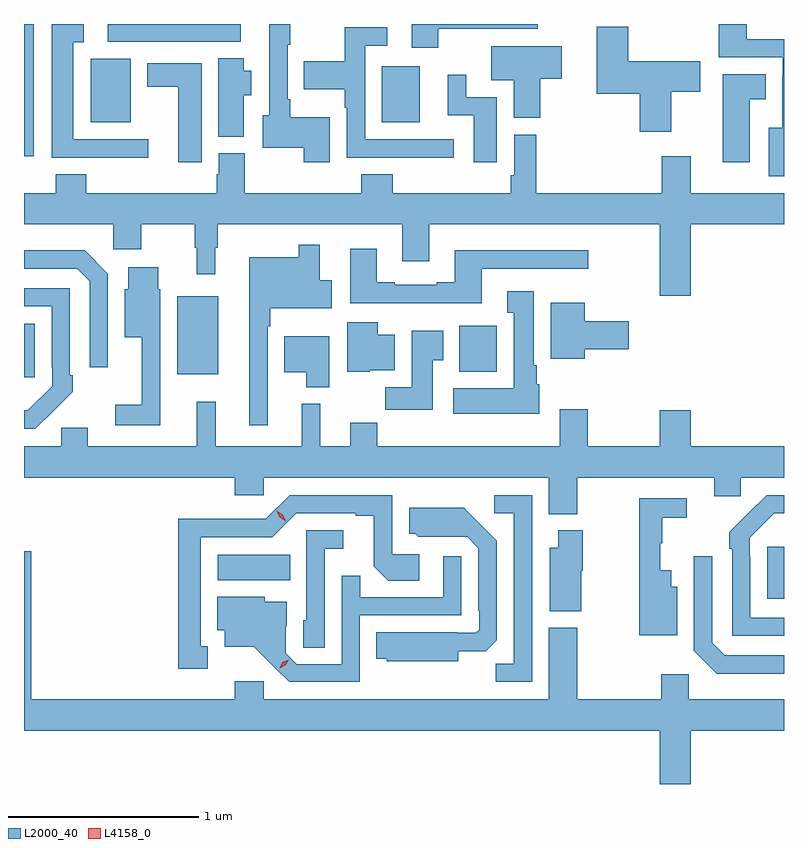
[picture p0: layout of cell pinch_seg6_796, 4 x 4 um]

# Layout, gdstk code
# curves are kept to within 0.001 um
import gdstk
lib = gdstk.Library(unit=1e-6, precision=1e-09)
def R(c, l, rs):  # rectangles x0, y0, x1, y1
    for r in rs: c.add(gdstk.rectangle(r[:2], r[2:], *l))
def P(c, l, *ps):  # polygons
    for p in ps: c.add(gdstk.Polygon(p, *l))
L2000_40 = (2000, 40)
L4158_0 = (4158, 0)

pinch_seg6_796 = lib.new_cell('pinch_seg6_796')
R(pinch_seg6_796, L2000_40, [(153.587,976.001,153.675,976.276), (150.696,976.1,151.076,976.234), (149.675,977.169,149.731,977.449), (150.482,977.183,150.697,977.593), (151.967,977.198,152.164,977.44), (149.675,978.33,149.727,979.027), (150.026,978.509,150.238,978.844), (151.559,978.509,151.759,978.805), (150.117,978.933,150.817,979.027)])
P(pinch_seg6_796, L2000_40, [(153.675,978.948),(153.478,978.948),(153.478,979.027),(153.331,979.027),(153.331,978.852),(153.669,978.852),(153.669,978.755),(153.665,978.755),(153.665,978.481),(153.596,978.481),(153.596,978.227),(153.675,978.227)],
  [(151.855,979.001),(152.38,979.001),(152.38,979.027),(151.715,979.027),(151.715,978.903),(151.855,978.903)],
  [(150.328,978.42),(149.935,978.42),(149.935,978.932),(149.989,978.932),(149.989,979.027),(149.822,979.027),(149.822,978.323),(150.328,978.323)],
  [(151.285,978.535),(151.075,978.535),(151.075,978.631),(151.062,978.631),(151.062,978.919),(151.075,978.919),(151.075,979.027),(150.965,979.027),(150.965,978.936),(150.966,978.936),(150.966,978.548),(150.932,978.548),(150.932,978.377),(151.147,978.377),(151.147,978.3),(151.285,978.3)],
  [(153.082,978.67),(153.235,978.67),(153.235,978.832),(152.856,978.832),(152.856,979.012),(152.69,979.012),(152.69,978.659),(152.915,978.659),(152.915,978.459),(153.082,978.459)],
  [(151.936,978.42),(151.47,978.42),(151.47,978.912),(151.588,978.912),(151.588,979.009),(151.362,979.009),(151.362,978.831),(151.147,978.831),(151.147,978.683),(151.362,978.683),(151.362,978.587),(151.374,978.587),(151.374,978.324),(151.699,978.324),(151.699,978.323),(151.936,978.323)],
  [(152.392,978.74),(152.506,978.74),(152.506,978.91),(152.135,978.91),(152.135,978.731),(152.252,978.731),(152.252,978.534),(152.392,978.534)],
  [(150.832,978.652),(150.871,978.652),(150.871,978.781),(150.832,978.781),(150.832,978.848),(150.698,978.848),(150.698,978.433),(150.832,978.433)],
  [(150.61,978.82),(150.323,978.82),(150.323,978.698),(150.488,978.698),(150.488,978.3),(150.61,978.3)],
  [(153.496,978.632),(153.58,978.632),(153.58,978.763),(153.353,978.763),(153.353,978.3),(153.496,978.3)],
  [(152.164,978.642),(152.002,978.642),(152.002,978.76),(151.904,978.76),(151.904,978.546),(152.042,978.546),(152.042,978.3),(152.164,978.3)],
  [(151.451,978.235),(151.451,978.136),(150.837,978.136),(150.837,978.348),(150.701,978.348),(150.701,978.237),(150.689,978.237),(150.689,978.136),(150.002,978.136),(150.002,978.235),(149.842,978.235),(149.842,978.136),(149.675,978.136),(149.675,977.972),(150.144,977.972),(150.144,977.841),(150.291,977.841),(150.291,977.972),(150.573,977.972),(150.573,977.849),(150.584,977.849),(150.584,977.709),(150.682,977.709),(150.682,977.849),(150.694,977.849),(150.694,977.972),(151.667,977.972),(151.667,977.778),(151.807,977.778),(151.807,977.972),(153.02,977.972),(153.02,977.598),(153.184,977.598),(153.184,977.972),(153.675,977.972),(153.675,978.136),(153.184,978.136),(153.184,978.331),(153.032,978.331),(153.032,978.136),(152.372,978.136),(152.372,978.445),(152.256,978.445),(152.256,978.232),(152.236,978.232),(152.236,978.136),(151.616,978.136),(151.616,978.235)],
  [(150.957,977.435),(150.97,977.435),(150.97,977.531),(151.294,977.531),(151.294,977.679),(151.231,977.679),(151.231,977.866),(151.122,977.866),(151.122,977.8),(150.86,977.8),(150.86,976.914),(150.957,976.914)],
  [(152.083,977.739),(152.644,977.739),(152.644,977.836),(151.943,977.836),(151.943,977.668),(151.847,977.668),(151.847,977.655),(151.627,977.655),(151.627,977.668),(151.531,977.668),(151.531,977.845),(151.391,977.845),(151.391,977.558),(152.083,977.558)],
  [(150.117,977.713),(149.994,977.836),(149.675,977.836),(149.675,977.739),(149.955,977.739),(150.021,977.673),(150.021,977.22),(150.117,977.22)],
  [(150.393,977.631),(150.382,977.631),(150.382,977.746),(150.224,977.746),(150.224,977.631),(150.206,977.631),(150.206,977.378),(150.296,977.378),(150.296,977.023),(150.156,977.023),(150.156,976.914),(150.393,976.914)],
  [(149.825,976.987),(149.826,976.986),(149.931,977.091),(149.931,977.179),(149.916,977.179),(149.916,977.637),(149.675,977.637),(149.675,977.541),(149.82,977.541),(149.82,977.221),(149.823,977.221),(149.823,977.121),(149.695,976.993),(149.675,976.993),(149.675,976.896),(149.734,976.896)],
  [(152.386,977.13),(152.374,977.13),(152.374,977.23),(152.359,977.23),(152.359,977.62),(152.219,977.62),(152.219,977.507),(152.252,977.507),(152.252,977.11),(151.935,977.11),(151.935,976.976),(152.386,976.976)],
  [(152.626,977.315),(152.857,977.315),(152.857,977.462),(152.626,977.462),(152.626,977.56),(152.447,977.56),(152.447,977.264),(152.626,977.264)],
  [(151.494,977.204),(151.627,977.204),(151.627,977.392),(151.537,977.392),(151.537,977.458),(151.376,977.458),(151.376,977.198),(151.494,977.198)],
  [(151.825,977.257),(151.882,977.257),(151.882,977.413),(151.715,977.413),(151.715,977.116),(151.576,977.116),(151.576,976.998),(151.825,976.998)],
  [(151.282,977.383),(151.046,977.383),(151.046,977.195),(151.16,977.195),(151.16,977.114),(151.282,977.114)],
  [(152.586,976.64),(153.308,976.64),(153.308,976.542),(153.447,976.542),(153.447,976.64),(153.675,976.64),(153.675,976.804),(153.184,976.804),(153.184,976.993),(153.02,976.993),(153.02,976.804),(152.643,976.804),(152.643,976.999),(152.495,976.999),(152.495,976.804),(151.535,976.804),(151.535,976.928),(151.391,976.928),(151.391,976.804),(151.234,976.804),(151.234,977.029),(151.136,977.029),(151.136,976.804),(150.683,976.804),(150.683,977.038),(150.584,977.038),(150.584,976.804),(150.01,976.804),(150.01,976.902),(149.871,976.902),(149.871,976.804),(149.675,976.804),(149.675,976.64),(150.785,976.64),(150.785,976.547),(150.936,976.547),(150.936,976.64),(152.438,976.64),(152.438,976.448),(152.586,976.448)],
  [(153.675,975.903),(153.498,975.903),(153.498,976.223),(153.495,976.223),(153.495,976.323),(153.624,976.452),(153.675,976.452),(153.675,976.548),(153.584,976.548),(153.387,976.353),(153.387,976.265),(153.402,976.265),(153.402,975.807),(153.675,975.807)],
  [(150.643,975.753),(150.604,975.753),(150.604,976.326),(150.981,976.326),(151.107,976.452),(151.421,976.452),(151.421,976.44),(151.515,976.44),(151.515,976.172),(151.591,976.096),(151.756,976.096),(151.756,976.236),(151.614,976.236),(151.614,976.548),(151.074,976.548),(150.948,976.422),(150.726,976.422),(150.726,976.424),(150.486,976.424),(150.486,975.633),(150.643,975.633)],
  [(152.349,976.548),(152.151,976.548),(152.151,976.452),(152.253,976.452),(152.253,975.659),(152.158,975.659),(152.158,975.564),(152.349,975.564)],
  [(153.112,976.066),(153.082,976.066),(153.082,976.153),(153.023,976.153),(153.023,976.293),(153.034,976.293),(153.034,976.429),(153.163,976.429),(153.163,976.53),(152.913,976.53),(152.913,975.809),(153.112,975.809)],
  [(151.96,975.725),(152.104,975.725),(152.163,975.784),(152.163,976.306),(151.991,976.48),(151.703,976.48),(151.703,976.344),(151.734,976.344),(151.75,976.328),(152.007,976.329),(152.067,976.269),(152.067,975.94),(152.07,975.94),(152.07,975.84),(152.052,975.822),(151.952,975.822),(151.952,975.826),(151.528,975.826),(151.528,975.686),(151.584,975.686),(151.584,975.674),(151.96,975.674)],
  [(152.608,976.149),(152.616,976.149),(152.616,976.363),(152.486,976.363),(152.486,976.27),(152.441,976.27),(152.441,975.935),(152.608,975.935)],
  [(151.257,976.265),(151.354,976.265),(151.354,976.362),(151.161,976.362),(151.161,975.888),(151.146,975.888),(151.146,975.745),(151.257,975.745)],
  [(153.184,975.308),(153.675,975.308),(153.675,975.472),(153.174,975.472),(153.174,975.604),(153.028,975.604),(153.028,975.472),(152.586,975.472),(152.586,975.85),(152.438,975.85),(152.438,975.472),(150.936,975.472),(150.936,975.568),(150.785,975.568),(150.785,975.472),(149.714,975.472),(149.714,976.252),(149.675,976.252),(149.675,975.308),(153.02,975.308),(153.02,975.027),(153.184,975.027)],
  [(153.675,975.705),(153.363,975.705),(153.297,975.771),(153.297,976.225),(153.201,976.225),(153.201,975.729),(153.322,975.608),(153.675,975.608)],
  [(151.443,975.915),(151.977,975.915),(151.977,976.225),(151.881,976.225),(151.881,976.011),(151.445,976.011),(151.445,976.124),(151.347,976.124),(151.347,975.657),(151.11,975.657),(151.053,975.714),(151.053,975.856),(151.057,975.856),(151.057,975.985),(150.942,975.985),(150.942,976.012),(150.692,976.012),(150.692,975.836),(150.731,975.836),(150.731,975.749),(150.883,975.749),(151.07,975.564),(151.443,975.564)])
P(pinch_seg6_796, L4158_0, [(151.02,975.637),(151.02,975.638),(151.038,975.667),(151.068,975.682),(151.069,975.682),(151.069,975.681),(151.051,975.652),(151.02,975.637)],
  [(151.052,976.411),(151.021,976.431),(151.004,976.464),(151.004,976.464),(151.005,976.464),(151.036,976.444),(151.053,976.411),(151.053,976.411)])

lib.write_gds('pinch_seg6_796.gds')
